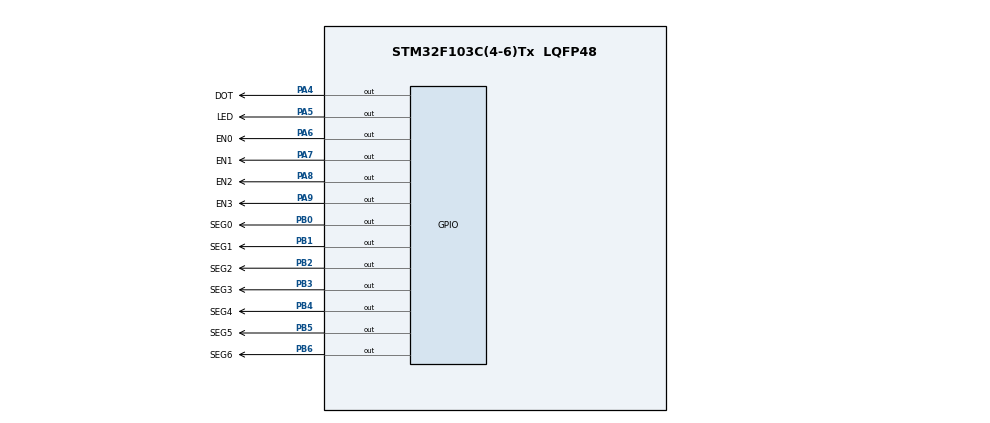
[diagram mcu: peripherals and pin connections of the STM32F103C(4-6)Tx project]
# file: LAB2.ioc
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Mcu.Family=STM32F1
Mcu.Name=STM32F103C(4-6)Tx
Mcu.Package=LQFP48
NVIC.PriorityGroup=NVIC_PRIORITYGROUP_4
NVIC.TIM2_IRQn=true\:0\:0\:false\:false\:true\:true\:true\:true
PA4.GPIO_Label=DOT
PA4.Signal=GPIO_Output
PA5.GPIO_Label=LED
PA5.Signal=GPIO_Output
PA6.GPIO_Label=EN0
PA6.Signal=GPIO_Output
PA7.GPIO_Label=EN1
PA7.Signal=GPIO_Output
PA8.GPIO_Label=EN2
PA8.Signal=GPIO_Output
PA9.GPIO_Label=EN3
PA9.Signal=GPIO_Output
PB0.GPIO_Label=SEG0
PB0.Signal=GPIO_Output
PB1.GPIO_Label=SEG1
PB1.Signal=GPIO_Output
PB2.GPIO_Label=SEG2
PB2.Signal=GPIO_Output
PB3.GPIO_Label=SEG3
PB3.Signal=GPIO_Output
PB4.GPIO_Label=SEG4
PB4.Signal=GPIO_Output
PB5.GPIO_Label=SEG5
PB5.Signal=GPIO_Output
PB6.GPIO_Label=SEG6
PB6.Signal=GPIO_Output
ProjectManager.HeapSize=0x200
ProjectManager.StackSize=0x400
ProjectManager.TargetToolchain=STM32CubeIDE
RCC.APB1Freq_Value=8000000
RCC.APB2Freq_Value=8000000
TIM2.Period=9
TIM2.Prescaler=7999
VP_SYS_VS_ND.Mode=No_Debug
VP_TIM2_VS_ClockSourceINT.Mode=Internal
board=custom

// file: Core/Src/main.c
/* USER CODE BEGIN Header */
/**
  ******************************************************************************
  * @file           : main.c
  * @brief          : Main program body
  ******************************************************************************
  * @attention
  *
  * Copyright (c) 2024 STMicroelectronics.
  * All rights reserved.
  *
  * This software is licensed under terms that can be found in the LICENSE file
  * in the root directory of this software component.
  * If no LICENSE file comes with this software, it is provided AS-IS.
  *
  ******************************************************************************
  */
/* USER CODE END Header */
#include "main.h"

/* USER CODE BEGIN Includes */
#include "soft_timer.h"
/* USER CODE END Includes */

TIM_HandleTypeDef htim2;

void SystemClock_Config(void);
static void MX_GPIO_Init(void);
static void MX_TIM2_Init(void);

/* USER CODE BEGIN 0 */
int NUM [10][7]=
{
	{0,0,0,0,0,0,1},
	{1,0,0,1,1,1,1},
	{0,0,1,0,0,1,0},
	{0,0,0,0,1,1,0},
	{1,0,0,1,1,0,0},
	{0,1,0,0,1,0,0},
	{0,1,0,0,0,0,0},
	{0,0,0,1,1,1,1},
	{0,0,0,0,0,0,0},
	{0,0,0,0,1,0,0}
};

void HAL_TIM_PeriodElapsedCallback ( TIM_HandleTypeDef * htim )
{
	runTimer();
}

void display7SEG(int num)
{
	HAL_GPIO_WritePin(SEG0_GPIO_Port, SEG0_Pin, NUM[num][0]);
	HAL_GPIO_WritePin(SEG1_GPIO_Port, SEG1_Pin, NUM[num][1]);
	HAL_GPIO_WritePin(SEG2_GPIO_Port, SEG2_Pin, NUM[num][2]);
	HAL_GPIO_WritePin(SEG3_GPIO_Port, SEG3_Pin, NUM[num][3]);
	HAL_GPIO_WritePin(SEG4_GPIO_Port, SEG4_Pin, NUM[num][4]);
	HAL_GPIO_WritePin(SEG5_GPIO_Port, SEG5_Pin, NUM[num][5]);
	HAL_GPIO_WritePin(SEG6_GPIO_Port, SEG6_Pin, NUM[num][6]);
}

const int MAX_LED = 4;
int index_led = 0;
int led_buffer[4] = {1, 2, 3, 4};

int hour = 15, minute = 8, second = 50;

int status_dot = 0;
int status_led = 0;

void update7SEG(int index)
{
	switch (index) {
		case 1:
			HAL_GPIO_WritePin(EN0_GPIO_Port, EN0_Pin, GPIO_PIN_RESET);
			HAL_GPIO_WritePin(EN1_GPIO_Port, EN1_Pin, GPIO_PIN_SET);
			HAL_GPIO_WritePin(EN2_GPIO_Port, EN2_Pin, GPIO_PIN_SET);
			HAL_GPIO_WritePin(EN3_GPIO_Port, EN3_Pin, GPIO_PIN_SET);
			display7SEG(led_buffer[index - 1]);
			break;
		case 2:
			HAL_GPIO_WritePin(EN0_GPIO_Port, EN0_Pin, GPIO_PIN_SET);
			HAL_GPIO_WritePin(EN1_GPIO_Port, EN1_Pin, GPIO_PIN_RESET);
			HAL_GPIO_WritePin(EN2_GPIO_Port, EN2_Pin, GPIO_PIN_SET);
			HAL_GPIO_WritePin(EN3_GPIO_Port, EN3_Pin, GPIO_PIN_SET);
			display7SEG(led_buffer[index - 1]);
			break;
		case 3:
			HAL_GPIO_WritePin(EN0_GPIO_Port, EN0_Pin, GPIO_PIN_SET);
			HAL_GPIO_WritePin(EN1_GPIO_Port, EN1_Pin, GPIO_PIN_SET);
			HAL_GPIO_WritePin(EN2_GPIO_Port, EN2_Pin, GPIO_PIN_RESET);
			HAL_GPIO_WritePin(EN3_GPIO_Port, EN3_Pin, GPIO_PIN_SET);
			display7SEG(led_buffer[index - 1]);
			break;
		case 4:
			HAL_GPIO_WritePin(EN0_GPIO_Port, EN0_Pin, GPIO_PIN_SET);
			HAL_GPIO_WritePin(EN1_GPIO_Port, EN1_Pin, GPIO_PIN_SET);
			HAL_GPIO_WritePin(EN2_GPIO_Port, EN2_Pin, GPIO_PIN_SET);
			HAL_GPIO_WritePin(EN3_GPIO_Port, EN3_Pin, GPIO_PIN_RESET);
			display7SEG(led_buffer[index - 1]);
			break;
		default:
			break;
	}
}

void updateClockBuffer(void)
{
	led_buffer[0] = hour/10;
	led_buffer[1] = hour%10;
	led_buffer[2] = minute/10;
	led_buffer[3] = minute%10;
}

/* USER CODE END 0 */

int main(void)
{

	/* MCU Configuration--------------------------------------------------------*/

	/* Reset of all peripherals, Initializes the Flash interface and the Systick. */
	HAL_Init();

	/* Configure the system clock */
	SystemClock_Config();

	/* Initialize all configured peripherals */
	MX_GPIO_Init();
	MX_TIM2_Init();
	/* USER CODE BEGIN 2 */

	setTimer(0, 1000);
	HAL_TIM_Base_Start_IT(&htim2);

	/* USER CODE END 2 */

	/* Infinite loop */
	while (1)
	{

	  if (second >= 60){
		 second = 0;
		 minute++;
	  }

	  if(minute >= 60){
		 minute = 0;
		 hour++;
	  }
	  if(hour >=24){
		 hour = 0;
	  }
	  HAL_GPIO_WritePin(LED_GPIO_Port, LED_Pin, status_led);
	  HAL_GPIO_WritePin(DOT_GPIO_Port, DOT_Pin, status_led);
	  updateClockBuffer();
	  update7SEG(index_led);

	  if (getTimerFlag(0))
	  {
		  status_led = !status_led;
		  status_dot = !status_dot;
		  second++;
		  setTimer(0, 1000);
	  }

	  if (getTimerFlag(1))
	  {
		  index_led++;
		  if(index_led > 4)
		  {
			  index_led = 1;
		  }
		  setTimer(1, 250);
	  }

	}
}

void SystemClock_Config(void)
{
  RCC_OscInitTypeDef RCC_OscInitStruct = {0};
  RCC_ClkInitTypeDef RCC_ClkInitStruct = {0};

  /** Initializes the RCC Oscillators according to the specified parameters
  * in the RCC_OscInitTypeDef structure.
  */
  RCC_OscInitStruct.OscillatorType = RCC_OSCILLATORTYPE_HSI;
  RCC_OscInitStruct.HSIState = RCC_HSI_ON;
  RCC_OscInitStruct.HSICalibrationValue = RCC_HSICALIBRATION_DEFAULT;
  RCC_OscInitStruct.PLL.PLLState = RCC_PLL_NONE;
  if (HAL_RCC_OscConfig(&RCC_OscInitStruct) != HAL_OK)
  {
    Error_Handler();
  }

  /** Initializes the CPU, AHB and APB buses clocks
  */
  RCC_ClkInitStruct.ClockType = RCC_CLOCKTYPE_HCLK|RCC_CLOCKTYPE_SYSCLK
                              |RCC_CLOCKTYPE_PCLK1|RCC_CLOCKTYPE_PCLK2;
  RCC_ClkInitStruct.SYSCLKSource = RCC_SYSCLKSOURCE_HSI;
  RCC_ClkInitStruct.AHBCLKDivider = RCC_SYSCLK_DIV1;
  RCC_ClkInitStruct.APB1CLKDivider = RCC_HCLK_DIV1;
  RCC_ClkInitStruct.APB2CLKDivider = RCC_HCLK_DIV1;

  if (HAL_RCC_ClockConfig(&RCC_ClkInitStruct, FLASH_LATENCY_0) != HAL_OK)
  {
    Error_Handler();
  }
}

static void MX_TIM2_Init(void)
{

  TIM_ClockConfigTypeDef sClockSourceConfig = {0};
  TIM_MasterConfigTypeDef sMasterConfig = {0};

  htim2.Instance = TIM2;
  htim2.Init.Prescaler = 7999;
  htim2.Init.CounterMode = TIM_COUNTERMODE_UP;
  htim2.Init.Period = 9;
  htim2.Init.ClockDivision = TIM_CLOCKDIVISION_DIV1;
  htim2.Init.AutoReloadPreload = TIM_AUTORELOAD_PRELOAD_DISABLE;
  if (HAL_TIM_Base_Init(&htim2) != HAL_OK)
  {
    Error_Handler();
  }
  sClockSourceConfig.ClockSource = TIM_CLOCKSOURCE_INTERNAL;
  if (HAL_TIM_ConfigClockSource(&htim2, &sClockSourceConfig) != HAL_OK)
  {
    Error_Handler();
  }
  sMasterConfig.MasterOutputTrigger = TIM_TRGO_RESET;
  sMasterConfig.MasterSlaveMode = TIM_MASTERSLAVEMODE_DISABLE;
  if (HAL_TIMEx_MasterConfigSynchronization(&htim2, &sMasterConfig) != HAL_OK)
  {
    Error_Handler();
  }

}

static void MX_GPIO_Init(void)
{
  GPIO_InitTypeDef GPIO_InitStruct = {0};

  /* GPIO Ports Clock Enable */
  __HAL_RCC_GPIOA_CLK_ENABLE();
  __HAL_RCC_GPIOB_CLK_ENABLE();

  /*Configure GPIO pin Output Level */
  HAL_GPIO_WritePin(GPIOA, DOT_Pin|LED_Pin|EN0_Pin|EN1_Pin
                          |EN2_Pin|EN3_Pin, GPIO_PIN_RESET);

  /*Configure GPIO pin Output Level */
  HAL_GPIO_WritePin(GPIOB, SEG0_Pin|SEG1_Pin|SEG2_Pin|SEG3_Pin
                          |SEG4_Pin|SEG5_Pin|SEG6_Pin, GPIO_PIN_RESET);

  /*Configure GPIO pins : DOT_Pin LED_Pin EN0_Pin EN1_Pin
                           EN2_Pin EN3_Pin */
  GPIO_InitStruct.Pin = DOT_Pin|LED_Pin|EN0_Pin|EN1_Pin
                          |EN2_Pin|EN3_Pin;
  GPIO_InitStruct.Mode = GPIO_MODE_OUTPUT_PP;
  GPIO_InitStruct.Pull = GPIO_NOPULL;
  GPIO_InitStruct.Speed = GPIO_SPEED_FREQ_LOW;
  HAL_GPIO_Init(GPIOA, &GPIO_InitStruct);

  /*Configure GPIO pins : SEG0_Pin SEG1_Pin SEG2_Pin SEG3_Pin
                           SEG4_Pin SEG5_Pin SEG6_Pin */
  GPIO_InitStruct.Pin = SEG0_Pin|SEG1_Pin|SEG2_Pin|SEG3_Pin
                          |SEG4_Pin|SEG5_Pin|SEG6_Pin;
  GPIO_InitStruct.Mode = GPIO_MODE_OUTPUT_PP;
  GPIO_InitStruct.Pull = GPIO_NOPULL;
  GPIO_InitStruct.Speed = GPIO_SPEED_FREQ_LOW;
  HAL_GPIO_Init(GPIOB, &GPIO_InitStruct);

}

void Error_Handler(void)
{
  __disable_irq();
  while (1)
  {
  }
}
